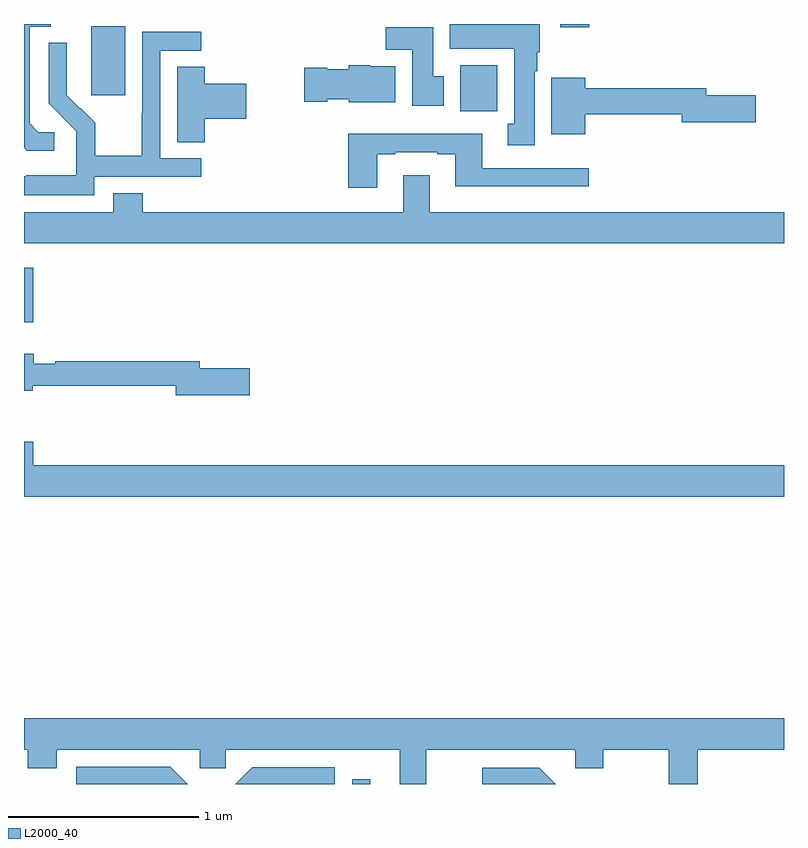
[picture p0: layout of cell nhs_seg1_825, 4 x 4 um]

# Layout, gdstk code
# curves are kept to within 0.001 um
import gdstk
lib = gdstk.Library(unit=1e-6, precision=1e-09)
def R(c, l, rs):  # rectangles x0, y0, x1, y1
    for r in rs: c.add(gdstk.rectangle(r[:2], r[2:], *l))
def P(c, l, *ps):  # polygons
    for p in ps: c.add(gdstk.Polygon(p, *l))
L2000_40 = (2000, 40)

nhs_seg1_825 = lib.new_cell('nhs_seg1_825')
R(nhs_seg1_825, L2000_40, [(156.727,570.199,156.823,570.223), (155,572.63,155.048,572.917), (157.295,573.74,157.492,573.982), (155.354,573.825,155.533,574.186), (157.823,574.182,157.976,574.199)])
P(nhs_seg1_825, L2000_40, [(157.687,573.95),(157.702,573.95),(157.702,574.05),(157.714,574.05),(157.714,574.199),(157.241,574.199),(157.241,574.07),(157.58,574.07),(157.58,573.674),(157.547,573.674),(157.547,573.561),(157.687,573.561)],
  [(155.158,573.63),(155.076,573.63),(155.029,573.677),(155.029,574.185),(155.14,574.185),(155.14,574.199),(155,574.199),(155,573.547),(155.014,573.533),(155.158,573.533)],
  [(157.21,573.924),(157.153,573.924),(157.153,574.183),(156.904,574.183),(156.904,574.064),(157.043,574.064),(157.043,573.768),(157.21,573.768)],
  [(155.37,573.396),(155.932,573.396),(155.932,573.492),(155.718,573.492),(155.718,574.059),(155.932,574.059),(155.932,574.158),(155.622,574.158),(155.622,573.728),(155.62,573.728),(155.62,573.505),(155.375,573.505),(155.375,573.679),(155.298,573.756),(155.295,573.753),(155.225,573.824),(155.226,574.1),(155.13,574.1),(155.13,573.782),(155.276,573.634),(155.276,573.537),(155.274,573.537),(155.274,573.403),(155.011,573.403),(155.011,573.399),(155,573.399),(155,573.299),(155.37,573.299)],
  [(156.955,573.976),(156.822,573.976),(156.822,573.982),(156.708,573.982),(156.708,573.961),(156.597,573.961),(156.597,573.969),(156.474,573.969),(156.474,573.791),(156.597,573.791),(156.597,573.803),(156.708,573.803),(156.708,573.788),(156.955,573.788)],
  [(155.951,573.701),(156.169,573.701),(156.169,573.884),(155.951,573.884),(155.951,573.974),(155.807,573.974),(155.807,573.577),(155.951,573.577)],
  [(157.954,573.724),(158.462,573.724),(158.462,573.682),(158.851,573.682),(158.851,573.824),(158.59,573.824),(158.59,573.86),(157.954,573.86),(157.954,573.916),(157.775,573.916),(157.775,573.62),(157.954,573.62)],
  [(156.859,573.513),(156.955,573.513),(156.955,573.525),(157.175,573.525),(157.175,573.513),(157.271,573.513),(157.271,573.344),(157.972,573.344),(157.972,573.441),(157.411,573.441),(157.411,573.622),(156.707,573.622),(156.707,573.336),(156.859,573.336)],
  [(159,573.208),(157.135,573.208),(157.135,573.403),(156.995,573.403),(156.995,573.208),(155.624,573.208),(155.624,573.307),(155.471,573.307),(155.471,573.208),(155,573.208),(155,573.044),(159,573.044)],
  [(156.187,572.387),(155.926,572.387),(155.926,572.423),(155.164,572.423),(155.164,572.412),(155.05,572.412),(155.05,572.464),(155,572.464),(155,572.27),(155.046,572.27),(155.046,572.295),(155.798,572.295),(155.798,572.245),(156.187,572.245)],
  [(159,571.876),(155.048,571.876),(155.048,572),(155,572),(155,571.712),(159,571.712)],
  [(157.117,570.38),(157.901,570.38),(157.901,570.281),(158.049,570.281),(158.049,570.38),(158.393,570.38),(158.393,570.199),(158.546,570.199),(158.546,570.38),(159,570.38),(159,570.544),(155,570.544),(155,570.38),(155.021,570.38),(155.021,570.281),(155.173,570.281),(155.173,570.38),(155.925,570.38),(155.925,570.282),(156.063,570.282),(156.063,570.38),(156.977,570.38),(156.977,570.199),(157.117,570.199)],
  [(155.771,570.289),(155.274,570.289),(155.274,570.199),(155.861,570.199)],
  [(156.636,570.288),(156.201,570.288),(156.112,570.199),(156.636,570.199)],
  [(157.713,570.285),(157.413,570.285),(157.413,570.199),(157.799,570.199)])

lib.write_gds('nhs_seg1_825.gds')
